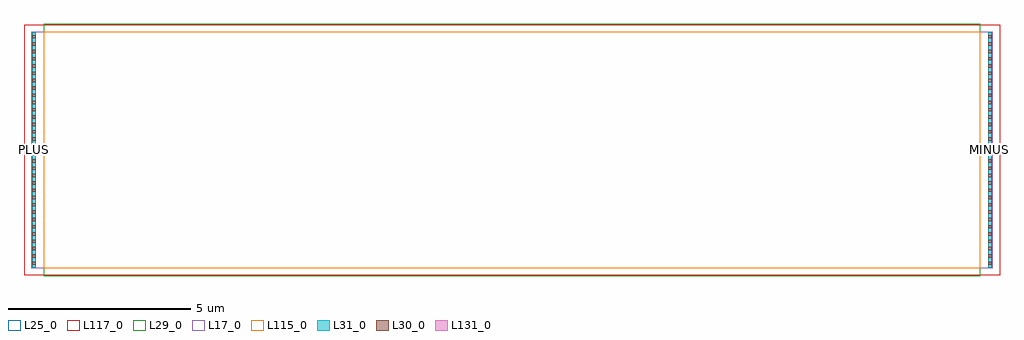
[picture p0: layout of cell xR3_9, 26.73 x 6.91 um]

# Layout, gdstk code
import gdstk
lib = gdstk.Library(unit=1e-6, precision=1e-09)
def R(c, l, rs):  # rectangles x0, y0, x1, y1
    for r in rs: c.add(gdstk.rectangle(r[:2], r[2:], *l))
def A(c, l, x, y, w, h, nx, ny, dx, dy):  # array of equal rectangles
    R(c, l, [(x+i*dx, y+j*dy, x+i*dx+w, y+j*dy+h) for i in range(nx) for j in range(ny)])
L17_0 = (17, 0)
L25_0 = (25, 0)
L29_0 = (29, 0)
L30_0 = (30, 0)
L31_0 = (31, 0)
L115_0 = (115, 0)
L117_0 = (117, 0)
L131_0 = (131, 0)

xr3_9 = lib.new_cell('xR3_9')
R(xr3_9, L17_0, [(0.2,0.22,26.53,6.69)])
R(xr3_9, L25_0, [(0,0.02,26.73,6.89)])
R(xr3_9, L29_0, [(0.54,0,26.19,6.91)])
A(xr3_9, L30_0, 0.23, 0.31, 0.09, 0.09, 1, 32, 0, 0.2)
A(xr3_9, L30_0, 26.41, 0.31, 0.09, 0.09, 1, 32, 0, 0.2)
R(xr3_9, L31_0, [(0.23,0.235,0.32,6.675), (26.41,0.235,26.5,6.675)])
R(xr3_9, L115_0, [(0.54,0.22,26.19,6.69)])
R(xr3_9, L117_0, [(0,0.02,26.73,6.89)])
R(xr3_9, L131_0, [(0.23,3.425,0.32,3.515), (26.41,3.425,26.5,3.515)])
xr3_9.add(gdstk.Label('PLUS', (0.275,3.47), layer=131, texttype=0))
xr3_9.add(gdstk.Label('MINUS', (26.455,3.47), layer=131, texttype=0))

lib.write_gds('xR3_9.gds')
